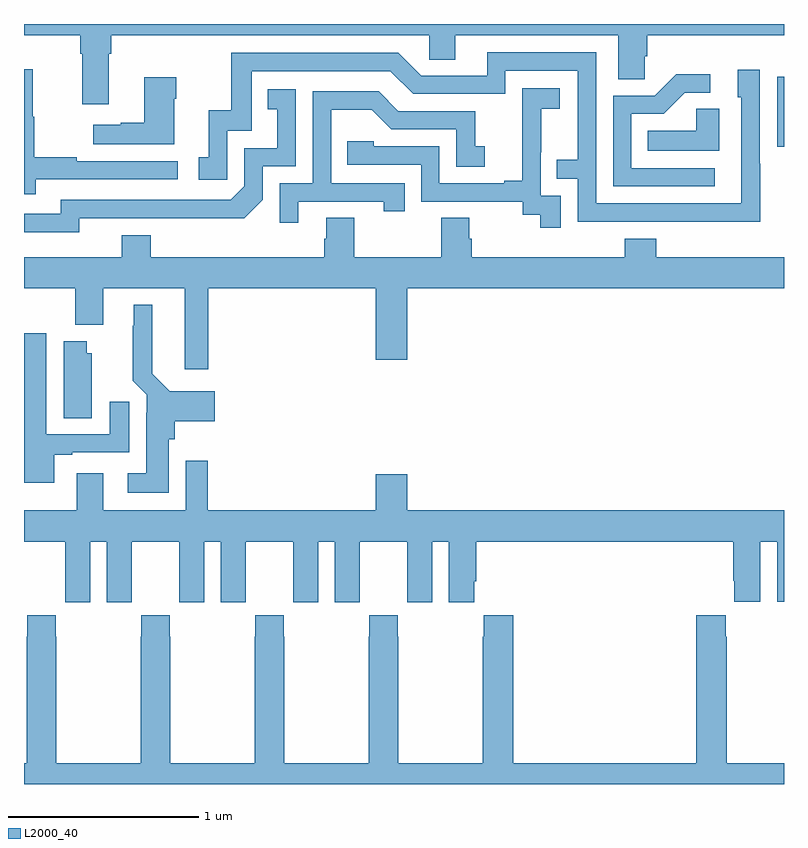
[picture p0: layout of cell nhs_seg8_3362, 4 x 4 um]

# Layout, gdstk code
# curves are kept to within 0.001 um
import gdstk
lib = gdstk.Library(unit=1e-6, precision=1e-09)
def R(c, l, rs):  # rectangles x0, y0, x1, y1
    for r in rs: c.add(gdstk.rectangle(r[:2], r[2:], *l))
def P(c, l, *ps):  # polygons
    for p in ps: c.add(gdstk.Polygon(p, *l))
L2000_40 = (2000, 40)

nhs_seg8_3362 = lib.new_cell('nhs_seg8_3362')
R(nhs_seg8_3362, L2000_40, [(322.965,1109.253,323,1109.622)])
P(nhs_seg8_3362, L2000_40, [(319,1109.84),(319.295,1109.84),(319.295,1109.744),(319.307,1109.744),(319.307,1109.478),(319.447,1109.478),(319.447,1109.744),(319.46,1109.744),(319.46,1109.84),(321.132,1109.84),(321.132,1109.713),(321.271,1109.713),(321.271,1109.84),(322.127,1109.84),(322.127,1109.608),(322.266,1109.608),(322.266,1109.731),(322.28,1109.731),(322.28,1109.84),(323,1109.84),(323,1109.9),(319,1109.9)],
  [(322.875,1109.165),(322.872,1109.165),(322.872,1109.659),(322.757,1109.659),(322.757,1109.514),(322.776,1109.514),(322.776,1108.956),(322.011,1108.956),(322.011,1109.751),(321.437,1109.751),(321.437,1109.628),(321.09,1109.628),(320.97,1109.748),(320.091,1109.748),(320.091,1109.446),(319.973,1109.446),(319.973,1109.199),(319.92,1109.199),(319.92,1109.079),(320.07,1109.079),(320.07,1109.337),(320.199,1109.337),(320.199,1109.652),(320.928,1109.652),(321.048,1109.532),(321.534,1109.532),(321.534,1109.655),(321.915,1109.655),(321.915,1109.186),(321.805,1109.186),(321.805,1109.085),(321.915,1109.085),(321.915,1108.86),(322.875,1108.859)],
  [(319.061,1109.082),(319.81,1109.082),(319.81,1109.178),(319.277,1109.178),(319.277,1109.198),(319.054,1109.198),(319.054,1109.412),(319.046,1109.412),(319.046,1109.662),(319,1109.662),(319,1109.004),(319.061,1109.004)],
  [(322.636,1109.142),(322.197,1109.142),(322.197,1109.427),(322.366,1109.427),(322.477,1109.538),(322.612,1109.538),(322.612,1109.636),(322.433,1109.636),(322.32,1109.523),(322.101,1109.523),(322.101,1109.046),(322.636,1109.046)],
  [(319.792,1109.507),(319.8,1109.507),(319.8,1109.62),(319.634,1109.62),(319.634,1109.381),(319.508,1109.381),(319.508,1109.371),(319.365,1109.371),(319.365,1109.267),(319.792,1109.267)],
  [(321.825,1108.995),(321.72,1108.995),(321.72,1109.225),(321.722,1109.225),(321.722,1109.453),(321.82,1109.453),(321.82,1109.563),(321.622,1109.563),(321.622,1109.357),(321.623,1109.357),(321.623,1109.074),(321.527,1109.074),(321.527,1109.061),(321.186,1109.061),(321.186,1109.256),(320.841,1109.256),(320.841,1109.283),(320.701,1109.283),(320.701,1109.16),(321.09,1109.16),(321.09,1108.965),(321.624,1108.965),(321.624,1108.897),(321.717,1108.897),(321.717,1108.827),(321.825,1108.827)],
  [(319.29,1108.878),(320.158,1108.877),(320.256,1108.974),(320.256,1109.151),(320.43,1109.151),(320.43,1109.557),(320.284,1109.557),(320.284,1109.451),(320.333,1109.451),(320.333,1109.247),(320.16,1109.247),(320.16,1109.046),(320.088,1108.974),(319.194,1108.974),(319.194,1108.902),(319,1108.902),(319,1108.805),(319.29,1108.805)],
  [(320.443,1108.965),(320.894,1108.965),(320.894,1108.914),(321.005,1108.914),(321.005,1109.061),(320.616,1109.061),(320.616,1109.45),(320.83,1109.45),(320.934,1109.346),(321.276,1109.346),(321.276,1109.148),(321.424,1109.148),(321.424,1109.257),(321.375,1109.257),(321.375,1109.442),(320.971,1109.442),(320.866,1109.547),(320.52,1109.547),(320.52,1109.061),(320.346,1109.061),(320.346,1108.854),(320.443,1108.854)],
  [(322.66,1109.453),(322.539,1109.453),(322.539,1109.338),(322.282,1109.338),(322.282,1109.234),(322.66,1109.234)],
  [(319.97,1108.508),(320.852,1108.508),(320.852,1108.134),(321.016,1108.134),(321.016,1108.508),(323,1108.508),(323,1108.672),(322.328,1108.672),(322.328,1108.771),(322.163,1108.771),(322.163,1108.672),(321.356,1108.672),(321.356,1108.77),(321.343,1108.77),(321.343,1108.88),(321.196,1108.88),(321.196,1108.672),(320.739,1108.672),(320.739,1108.88),(320.591,1108.88),(320.591,1108.77),(320.579,1108.77),(320.579,1108.672),(319.667,1108.672),(319.667,1108.789),(319.514,1108.789),(319.514,1108.672),(319,1108.672),(319,1108.508),(319.27,1108.508),(319.27,1108.316),(319.417,1108.316),(319.417,1108.508),(319.847,1108.508),(319.847,1108.083),(319.97,1108.083)],
  [(319.762,1107.714),(319.793,1107.714),(319.793,1107.809),(320.005,1107.809),(320.005,1107.967),(319.767,1107.967),(319.675,1108.06),(319.675,1108.423),(319.577,1108.423),(319.577,1108.313),(319.573,1108.313),(319.573,1108.022),(319.647,1107.948),(319.647,1107.854),(319.643,1107.854),(319.643,1107.535),(319.545,1107.535),(319.545,1107.434),(319.762,1107.434)],
  [(319.159,1107.633),(319.255,1107.633),(319.255,1107.645),(319.555,1107.645),(319.555,1107.913),(319.451,1107.913),(319.451,1107.741),(319.117,1107.741),(319.117,1108.273),(319,1108.273),(319,1107.486),(319.159,1107.486)],
  [(319.357,1108.167),(319.33,1108.167),(319.33,1108.231),(319.208,1108.231),(319.208,1107.826),(319.357,1107.826)],
  [(319.348,1107.176),(319.436,1107.176),(319.436,1106.856),(319.566,1106.856),(319.566,1106.968),(319.567,1106.968),(319.567,1107.176),(319.817,1107.176),(319.817,1106.968),(319.818,1106.968),(319.818,1106.856),(319.948,1106.856),(319.948,1107.176),(320.036,1107.176),(320.036,1106.856),(320.166,1106.856),(320.166,1106.968),(320.167,1106.968),(320.167,1107.176),(320.417,1107.176),(320.417,1106.968),(320.418,1106.968),(320.418,1106.856),(320.548,1106.856),(320.548,1107.176),(320.636,1107.176),(320.636,1106.856),(320.766,1106.856),(320.766,1106.968),(320.767,1106.968),(320.767,1107.176),(321.017,1107.176),(321.017,1106.968),(321.018,1106.968),(321.018,1106.856),(321.148,1106.856),(321.148,1107.176),(321.236,1107.176),(321.236,1106.856),(321.37,1106.856),(321.37,1106.968),(321.38,1106.968),(321.38,1107.176),(322.733,1107.176),(322.733,1106.971),(322.739,1106.971),(322.739,1106.859),(322.876,1106.859),(322.876,1107.176),(322.964,1107.176),(322.964,1106.859),(323,1106.859),(323,1107.34),(321.016,1107.34),(321.016,1107.529),(320.852,1107.529),(320.852,1107.34),(319.967,1107.34),(319.967,1107.601),(319.851,1107.601),(319.851,1107.34),(319.417,1107.34),(319.417,1107.535),(319.277,1107.535),(319.277,1107.34),(319,1107.34),(319,1107.176),(319.217,1107.176),(319.217,1106.968),(319.218,1106.968),(319.218,1106.856),(319.348,1106.856)],
  [(323,1106.008),(322.698,1106.008),(322.698,1106.675),(322.693,1106.675),(322.693,1106.788),(322.538,1106.788),(322.538,1106.008),(321.575,1106.008),(321.575,1106.788),(321.421,1106.788),(321.421,1106.675),(321.415,1106.675),(321.415,1106.008),(320.97,1106.008),(320.97,1106.675),(320.967,1106.675),(320.967,1106.788),(320.817,1106.788),(320.817,1106.675),(320.815,1106.675),(320.815,1106.008),(320.37,1106.008),(320.37,1106.675),(320.367,1106.675),(320.367,1106.788),(320.217,1106.788),(320.217,1106.675),(320.215,1106.675),(320.215,1106.008),(319.77,1106.008),(319.77,1106.675),(319.767,1106.675),(319.767,1106.788),(319.617,1106.788),(319.617,1106.675),(319.615,1106.675),(319.615,1106.008),(319.17,1106.008),(319.17,1106.675),(319.167,1106.675),(319.167,1106.788),(319.017,1106.788),(319.017,1106.675),(319.015,1106.675),(319.015,1106.008),(319,1106.008),(319,1105.9),(323,1105.9)])

lib.write_gds('nhs_seg8_3362.gds')
